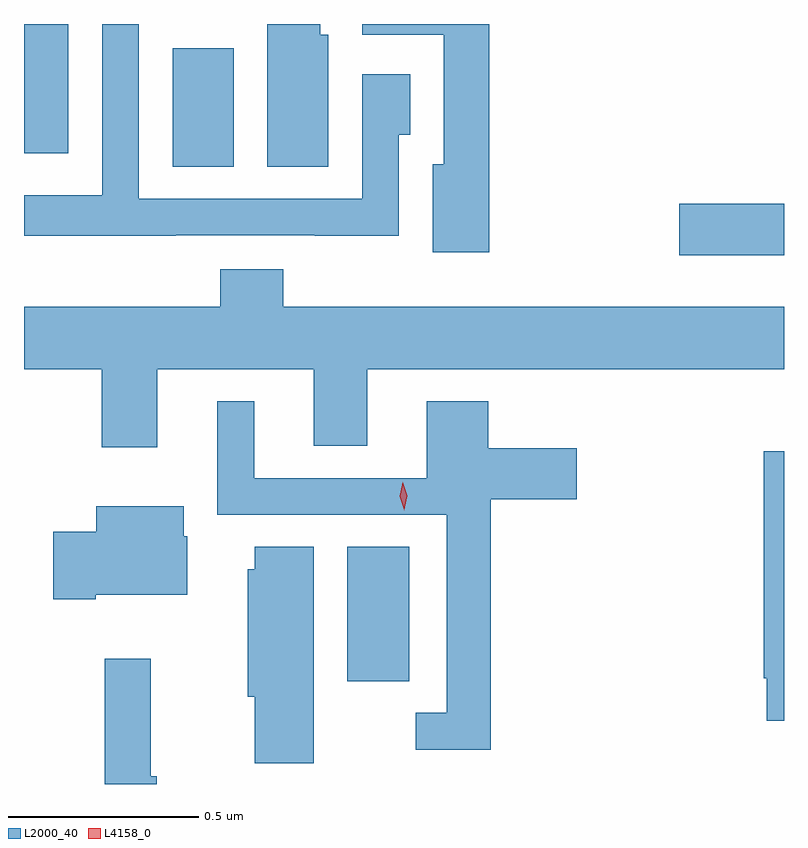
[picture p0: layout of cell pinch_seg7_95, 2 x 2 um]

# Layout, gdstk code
import gdstk
lib = gdstk.Library(unit=1e-6, precision=1e-09)
def R(c, l, rs):  # rectangles x0, y0, x1, y1
    for r in rs: c.add(gdstk.rectangle(r[:2], r[2:], *l))
def P(c, l, *ps):  # polygons
    for p in ps: c.add(gdstk.Polygon(p, *l))
L2000_40 = (2000, 40)
L4158_0 = (4158, 0)

pinch_seg7_95 = lib.new_cell('pinch_seg7_95')
R(pinch_seg7_95, L2000_40, [(888.182,1007.787,888.346,1008.14), (889.056,1008.908,889.332,1009.043), (887.723,1009.141,887.884,1009.452), (887.332,1009.176,887.449,1009.516)])
P(pinch_seg7_95, L2000_40, [(887.731,1008.96),(888.097,1008.96),(888.097,1008.959),(888.318,1008.959),(888.318,1009.225),(888.349,1009.225),(888.349,1009.384),(888.222,1009.384),(888.222,1009.056),(887.634,1009.056),(887.634,1009.516),(887.538,1009.516),(887.538,1009.066),(887.332,1009.066),(887.332,1008.959),(887.731,1008.959)],
  [(888.556,1009.516),(888.222,1009.516),(888.222,1009.488),(888.437,1009.488),(888.437,1009.147),(888.407,1009.147),(888.407,1008.915),(888.556,1008.915)],
  [(888.133,1009.488),(888.112,1009.488),(888.112,1009.516),(887.972,1009.516),(887.972,1009.141),(888.133,1009.141)],
  [(887.683,1008.608),(888.095,1008.608),(888.095,1008.406),(888.235,1008.406),(888.235,1008.608),(889.332,1008.608),(889.332,1008.772),(888.014,1008.772),(888.014,1008.871),(887.849,1008.871),(887.849,1008.772),(887.332,1008.772),(887.332,1008.608),(887.536,1008.608),(887.536,1008.402),(887.683,1008.402)],
  [(888.56,1008.266),(888.787,1008.266),(888.787,1008.4),(888.554,1008.4),(888.554,1008.523),(888.392,1008.523),(888.392,1008.321),(887.938,1008.321),(887.938,1008.523),(887.84,1008.523),(887.84,1008.225),(888.444,1008.225),(888.444,1007.703),(888.363,1007.703),(888.363,1007.606),(888.56,1007.606)],
  [(889.332,1008.392),(889.279,1008.392),(889.279,1007.794),(889.287,1007.794),(889.287,1007.682),(889.332,1007.682)],
  [(887.521,1008.014),(887.761,1008.014),(887.761,1008.168),(887.752,1008.168),(887.752,1008.247),(887.522,1008.247),(887.522,1008.18),(887.409,1008.18),(887.409,1008.002),(887.521,1008.002)],
  [(888.094,1008.14),(887.939,1008.14),(887.939,1008.081),(887.921,1008.081),(887.921,1007.745),(887.939,1007.745),(887.939,1007.571),(888.094,1007.571)],
  [(887.681,1007.536),(887.666,1007.536),(887.666,1007.845),(887.545,1007.845),(887.545,1007.516),(887.681,1007.516)])
P(pinch_seg7_95, L4158_0, [(888.333,1008.237),(888.333,1008.238),(888.321,1008.273),(888.329,1008.31),(888.329,1008.31),(888.329,1008.31),(888.341,1008.274),(888.333,1008.238)])

lib.write_gds('pinch_seg7_95.gds')
